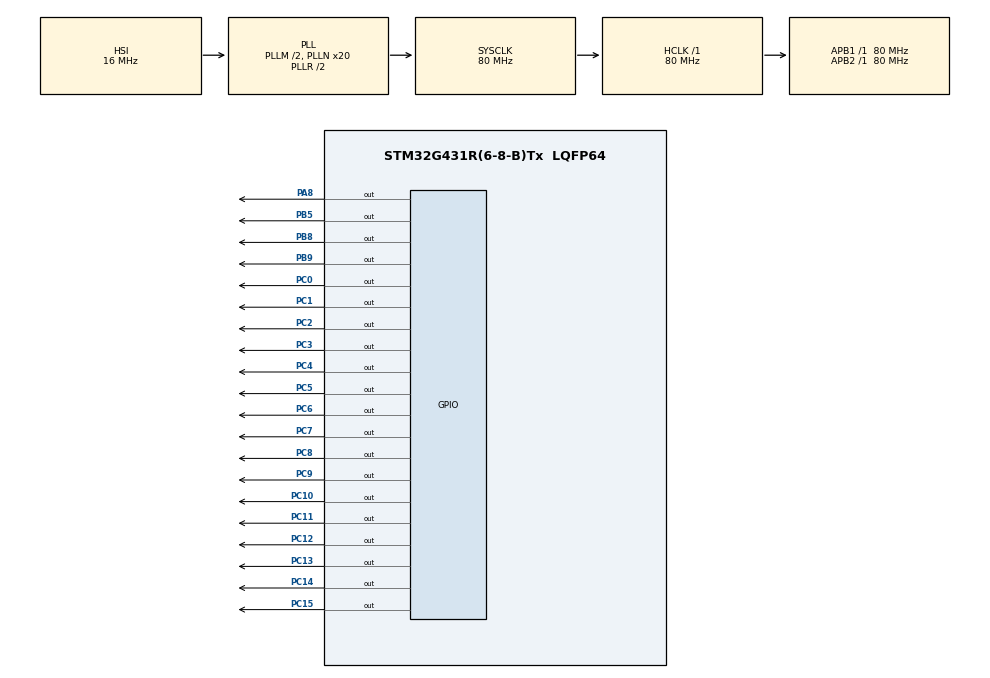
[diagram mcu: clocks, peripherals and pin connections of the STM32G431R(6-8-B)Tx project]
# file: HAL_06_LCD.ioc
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Mcu.Family=STM32G4
Mcu.Name=STM32G431R(6-8-B)Tx
Mcu.Package=LQFP64
NVIC.PriorityGroup=NVIC_PRIORITYGROUP_4
PA13.Mode=Serial_Wire
PA13.Signal=SYS_JTMS-SWDIO
PA14.Mode=Serial_Wire
PA14.Signal=SYS_JTCK-SWCLK
PA8.Signal=GPIO_Output
PB5.Signal=GPIO_Output
PB8-BOOT0.Signal=GPIO_Output
PB9.Signal=GPIO_Output
PC0.Signal=GPIO_Output
PC1.Signal=GPIO_Output
PC10.Signal=GPIO_Output
PC11.Signal=GPIO_Output
PC12.Signal=GPIO_Output
PC13.Signal=GPIO_Output
PC14-OSC32_IN.Signal=GPIO_Output
PC15-OSC32_OUT.Signal=GPIO_Output
PC2.Signal=GPIO_Output
PC3.Signal=GPIO_Output
PC4.Signal=GPIO_Output
PC5.Signal=GPIO_Output
PC6.Signal=GPIO_Output
PC7.Signal=GPIO_Output
PC8.Signal=GPIO_Output
PC9.Signal=GPIO_Output
PF0-OSC_IN.Mode=HSE-External-Oscillator
PF0-OSC_IN.Signal=RCC_OSC_IN
PF1-OSC_OUT.Mode=HSE-External-Oscillator
PF1-OSC_OUT.Signal=RCC_OSC_OUT
ProjectManager.HeapSize=0x200
ProjectManager.StackSize=0x400
ProjectManager.TargetToolchain=MDK-ARM V5.27
RCC.ADC12Freq_Value=80000000
RCC.AHBFreq_Value=80000000
RCC.APB1Freq_Value=80000000
RCC.APB1TimFreq_Value=80000000
RCC.APB2Freq_Value=80000000
RCC.APB2TimFreq_Value=80000000
RCC.CortexFreq_Value=80000000
RCC.EXTERNAL_CLOCK_VALUE=12288000
RCC.HCLKFreq_Value=80000000
RCC.HSE_VALUE=24000000
RCC.HSI48_VALUE=48000000
RCC.HSI_VALUE=16000000
RCC.LSE_VALUE=32768
RCC.PLLM=RCC_PLLM_DIV2
RCC.PLLN=20
RCC.SYSCLKFreq_VALUE=80000000
RCC.SYSCLKSource=RCC_SYSCLKSOURCE_PLLCLK
RCC.USBFreq_Value=80000000
RCC.VCOOutputFreq_Value=160000000
RTC.Date=28
RTC.Hours=23
RTC.Minutes=59
RTC.Month=RTC_MONTH_MARCH
RTC.Seconds=45
RTC.WeekDay=RTC_WEEKDAY_TUESDAY
RTC.Year=23
VP_RTC_VS_RTC_Activate.Mode=RTC_Enabled
VP_RTC_VS_RTC_Calendar.Mode=RTC_Calendar
VP_SYS_VS_DBSignals.Mode=DisableDeadBatterySignals
board=custom

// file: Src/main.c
/* USER CODE BEGIN Header */
/**
  ******************************************************************************
  * @file           : main.c
  * @brief          : Main program body
  ******************************************************************************
  * @attention
  *
  * <h2><center>&copy; Copyright (c) 2021 STMicroelectronics.
  * All rights reserved.</center></h2>
  *
  * This software component is licensed by ST under BSD 3-Clause license,
  * the "License"; You may not use this file except in compliance with the
  * License. You may obtain a copy of the License at:
  *                        opensource.org/licenses/BSD-3-Clause
  *
  ******************************************************************************
  */
/* USER CODE END Header */
#include "main.h"

/* USER CODE BEGIN Includes */
#include <stdlib.h>
#include <stdarg.h>
#include <stdio.h>
#include "lcd.h"
/* USER CODE END Includes */

RTC_HandleTypeDef hrtc;

void SystemClock_Config(void);
static void MX_GPIO_Init(void);
static void MX_RTC_Init(void);
/* USER CODE BEGIN PFP */
void dsplf(const int ln, const char *fmt, ...);
/* USER CODE END PFP */

int main(void)
{

  /* MCU Configuration--------------------------------------------------------*/

  /* Reset of all peripherals, Initializes the Flash interface and the Systick. */
  HAL_Init();

  /* Configure the system clock */
  SystemClock_Config();

  /* Initialize all configured peripherals */
  MX_GPIO_Init();
  MX_RTC_Init();
  /* USER CODE BEGIN 2 */

    LCD_Init();
  /* USER CODE END 2 */

  /* Infinite loop */
  /* USER CODE BEGIN WHILE */

    LCD_Clear(Black);
    LCD_SetBackColor(Black);
    LCD_SetTextColor(White);

	RTC_DateTypeDef date;
	RTC_TimeTypeDef time;
    while (1)
    {
		HAL_RTC_GetTime(&hrtc, &time, FORMAT_BIN);
		HAL_RTC_GetDate(&hrtc, &date, FORMAT_BIN);
		dsplf(2, "Date: %2d-%2d-%2d", date.Year, date.Month, date.Date);
		dsplf(4, "Time: %2d:%2d:%2d", time.Hours, time.Minutes, time.Seconds);
		HAL_Delay(10);
    /* USER CODE END WHILE */

    }
}

void SystemClock_Config(void)
{
  RCC_OscInitTypeDef RCC_OscInitStruct = {0};
  RCC_ClkInitTypeDef RCC_ClkInitStruct = {0};

  /** Configure the main internal regulator output voltage
  */
  HAL_PWREx_ControlVoltageScaling(PWR_REGULATOR_VOLTAGE_SCALE1);

  /** Initializes the RCC Oscillators according to the specified parameters
  * in the RCC_OscInitTypeDef structure.
  */
  RCC_OscInitStruct.OscillatorType = RCC_OSCILLATORTYPE_HSI|RCC_OSCILLATORTYPE_LSI;
  RCC_OscInitStruct.HSIState = RCC_HSI_ON;
  RCC_OscInitStruct.HSICalibrationValue = RCC_HSICALIBRATION_DEFAULT;
  RCC_OscInitStruct.LSIState = RCC_LSI_ON;
  RCC_OscInitStruct.PLL.PLLState = RCC_PLL_ON;
  RCC_OscInitStruct.PLL.PLLSource = RCC_PLLSOURCE_HSI;
  RCC_OscInitStruct.PLL.PLLM = RCC_PLLM_DIV2;
  RCC_OscInitStruct.PLL.PLLN = 20;
  RCC_OscInitStruct.PLL.PLLP = RCC_PLLP_DIV2;
  RCC_OscInitStruct.PLL.PLLQ = RCC_PLLQ_DIV2;
  RCC_OscInitStruct.PLL.PLLR = RCC_PLLR_DIV2;
  if (HAL_RCC_OscConfig(&RCC_OscInitStruct) != HAL_OK)
  {
    Error_Handler();
  }

  /** Initializes the CPU, AHB and APB buses clocks
  */
  RCC_ClkInitStruct.ClockType = RCC_CLOCKTYPE_HCLK|RCC_CLOCKTYPE_SYSCLK
                              |RCC_CLOCKTYPE_PCLK1|RCC_CLOCKTYPE_PCLK2;
  RCC_ClkInitStruct.SYSCLKSource = RCC_SYSCLKSOURCE_PLLCLK;
  RCC_ClkInitStruct.AHBCLKDivider = RCC_SYSCLK_DIV1;
  RCC_ClkInitStruct.APB1CLKDivider = RCC_HCLK_DIV1;
  RCC_ClkInitStruct.APB2CLKDivider = RCC_HCLK_DIV1;

  if (HAL_RCC_ClockConfig(&RCC_ClkInitStruct, FLASH_LATENCY_2) != HAL_OK)
  {
    Error_Handler();
  }
}

static void MX_RTC_Init(void)
{

  RTC_TimeTypeDef sTime = {0};
  RTC_DateTypeDef sDate = {0};

  /** Initialize RTC Only
  */
  hrtc.Instance = RTC;
  hrtc.Init.HourFormat = RTC_HOURFORMAT_24;
  hrtc.Init.AsynchPrediv = 127;
  hrtc.Init.SynchPrediv = 255;
  hrtc.Init.OutPut = RTC_OUTPUT_DISABLE;
  hrtc.Init.OutPutRemap = RTC_OUTPUT_REMAP_NONE;
  hrtc.Init.OutPutPolarity = RTC_OUTPUT_POLARITY_HIGH;
  hrtc.Init.OutPutType = RTC_OUTPUT_TYPE_OPENDRAIN;
  hrtc.Init.OutPutPullUp = RTC_OUTPUT_PULLUP_NONE;
  if (HAL_RTC_Init(&hrtc) != HAL_OK)
  {
    Error_Handler();
  }

  /* USER CODE BEGIN Check_RTC_BKUP */
	//if(HAL_RTCEx_BKUPRead(&hrtc, RTC_DR_
  /* USER CODE END Check_RTC_BKUP */

  /** Initialize RTC and set the Time and Date
  */
  sTime.Hours = 0x23;
  sTime.Minutes = 0x59;
  sTime.Seconds = 0x45;
  sTime.SubSeconds = 0x0;
  sTime.DayLightSaving = RTC_DAYLIGHTSAVING_NONE;
  sTime.StoreOperation = RTC_STOREOPERATION_RESET;
  if (HAL_RTC_SetTime(&hrtc, &sTime, RTC_FORMAT_BCD) != HAL_OK)
  {
    Error_Handler();
  }
  sDate.WeekDay = RTC_WEEKDAY_TUESDAY;
  sDate.Month = RTC_MONTH_MARCH;
  sDate.Date = 0x28;
  sDate.Year = 0x23;

  if (HAL_RTC_SetDate(&hrtc, &sDate, RTC_FORMAT_BCD) != HAL_OK)
  {
    Error_Handler();
  }

}

static void MX_GPIO_Init(void)
{
  GPIO_InitTypeDef GPIO_InitStruct = {0};

  /* GPIO Ports Clock Enable */
  __HAL_RCC_GPIOC_CLK_ENABLE();
  __HAL_RCC_GPIOF_CLK_ENABLE();
  __HAL_RCC_GPIOA_CLK_ENABLE();
  __HAL_RCC_GPIOB_CLK_ENABLE();

  /*Configure GPIO pin Output Level */
  HAL_GPIO_WritePin(GPIOC, GPIO_PIN_13|GPIO_PIN_14|GPIO_PIN_15|GPIO_PIN_0
                          |GPIO_PIN_1|GPIO_PIN_2|GPIO_PIN_3|GPIO_PIN_4
                          |GPIO_PIN_5|GPIO_PIN_6|GPIO_PIN_7|GPIO_PIN_8
                          |GPIO_PIN_9|GPIO_PIN_10|GPIO_PIN_11|GPIO_PIN_12, GPIO_PIN_RESET);

  /*Configure GPIO pin Output Level */
  HAL_GPIO_WritePin(GPIOA, GPIO_PIN_8, GPIO_PIN_RESET);

  /*Configure GPIO pin Output Level */
  HAL_GPIO_WritePin(GPIOB, GPIO_PIN_5|GPIO_PIN_8|GPIO_PIN_9, GPIO_PIN_RESET);

  /*Configure GPIO pins : PC13 PC14 PC15 PC0
                           PC1 PC2 PC3 PC4
                           PC5 PC6 PC7 PC8
                           PC9 PC10 PC11 PC12 */
  GPIO_InitStruct.Pin = GPIO_PIN_13|GPIO_PIN_14|GPIO_PIN_15|GPIO_PIN_0
                          |GPIO_PIN_1|GPIO_PIN_2|GPIO_PIN_3|GPIO_PIN_4
                          |GPIO_PIN_5|GPIO_PIN_6|GPIO_PIN_7|GPIO_PIN_8
                          |GPIO_PIN_9|GPIO_PIN_10|GPIO_PIN_11|GPIO_PIN_12;
  GPIO_InitStruct.Mode = GPIO_MODE_OUTPUT_PP;
  GPIO_InitStruct.Pull = GPIO_NOPULL;
  GPIO_InitStruct.Speed = GPIO_SPEED_FREQ_LOW;
  HAL_GPIO_Init(GPIOC, &GPIO_InitStruct);

  /*Configure GPIO pin : PA8 */
  GPIO_InitStruct.Pin = GPIO_PIN_8;
  GPIO_InitStruct.Mode = GPIO_MODE_OUTPUT_PP;
  GPIO_InitStruct.Pull = GPIO_NOPULL;
  GPIO_InitStruct.Speed = GPIO_SPEED_FREQ_LOW;
  HAL_GPIO_Init(GPIOA, &GPIO_InitStruct);

  /*Configure GPIO pins : PB5 PB8 PB9 */
  GPIO_InitStruct.Pin = GPIO_PIN_5|GPIO_PIN_8|GPIO_PIN_9;
  GPIO_InitStruct.Mode = GPIO_MODE_OUTPUT_PP;
  GPIO_InitStruct.Pull = GPIO_NOPULL;
  GPIO_InitStruct.Speed = GPIO_SPEED_FREQ_LOW;
  HAL_GPIO_Init(GPIOB, &GPIO_InitStruct);

}

/* USER CODE BEGIN 4 */
void dsplf(const int ln, const char *fmt, ...) {
	char *buf = (char *)malloc(32);
	va_list ap;
	va_start(ap, fmt);
	vsnprintf(buf, 31, fmt, ap);
	LCD_DisplayStringLine(ln * 24, (uint8_t *)buf);
	free(buf);
	va_end(ap);
}
/* USER CODE END 4 */

void Error_Handler(void)
{
}
